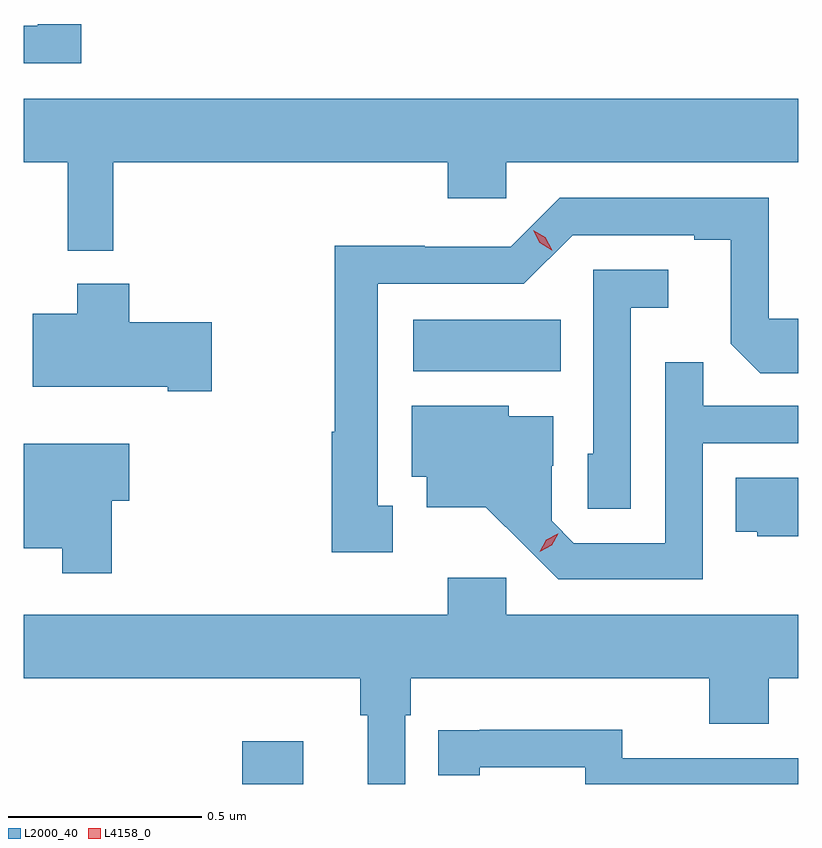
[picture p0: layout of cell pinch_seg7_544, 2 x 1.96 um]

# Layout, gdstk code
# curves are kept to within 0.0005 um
import gdstk
lib = gdstk.Library(unit=1e-6, precision=1e-09)
def R(c, l, rs):  # rectangles x0, y0, x1, y1
    for r in rs: c.add(gdstk.rectangle(r[:2], r[2:], *l))
def P(c, l, *ps):  # polygons
    for p in ps: c.add(gdstk.Polygon(p, *l))
L2000_40 = (2000, 40)
L4158_0 = (4158, 0)

pinch_seg7_544 = lib.new_cell('pinch_seg7_544')
R(pinch_seg7_544, L2000_40, [(171.566,1060.283,171.724,1060.393), (172.008,1061.348,172.388,1061.482)])
P(pinch_seg7_544, L2000_40, [(171.151,1062.245),(171.038,1062.245),(171.038,1062.24),(171.002,1062.24),(171.002,1062.144),(171.151,1062.144)],
  [(171.233,1061.888),(172.097,1061.888),(172.097,1061.795),(172.248,1061.795),(172.248,1061.888),(173.002,1061.888),(173.002,1062.052),(171.002,1062.052),(171.002,1061.888),(171.116,1061.888),(171.116,1061.66),(171.233,1061.66)],
  [(171.955,1061.001),(171.916,1061.001),(171.916,1061.574),(172.293,1061.574),(172.419,1061.7),(172.733,1061.7),(172.733,1061.688),(172.827,1061.688),(172.827,1061.42),(172.903,1061.344),(173.002,1061.344),(173.002,1061.484),(172.926,1061.484),(172.926,1061.796),(172.386,1061.796),(172.26,1061.67),(172.038,1061.67),(172.038,1061.672),(171.805,1061.672),(171.805,1061.193),(171.798,1061.193),(171.798,1060.881),(171.955,1060.881)],
  [(172.569,1061.513),(172.666,1061.513),(172.666,1061.61),(172.473,1061.61),(172.473,1061.136),(172.458,1061.136),(172.458,1060.993),(172.569,1060.993)],
  [(171.487,1061.475),(171.275,1061.475),(171.275,1061.575),(171.14,1061.575),(171.14,1061.497),(171.026,1061.497),(171.026,1061.309),(171.374,1061.309),(171.374,1061.297),(171.487,1061.297)],
  [(172.755,1061.163),(173.002,1061.163),(173.002,1061.259),(172.757,1061.259),(172.757,1061.372),(172.659,1061.372),(172.659,1060.905),(172.422,1060.905),(172.365,1060.962),(172.365,1061.104),(172.369,1061.104),(172.369,1061.233),(172.254,1061.233),(172.254,1061.26),(172.004,1061.26),(172.004,1061.076),(172.043,1061.076),(172.043,1060.997),(172.195,1060.997),(172.382,1060.812),(172.755,1060.812)],
  [(171.23,1061.014),(171.274,1061.014),(171.274,1061.161),(171.002,1061.161),(171.002,1060.892),(171.102,1060.892),(171.102,1060.827),(171.23,1060.827)],
  [(173.002,1061.074),(172.84,1061.074),(172.84,1060.934),(172.896,1060.934),(172.896,1060.922),(173.002,1060.922)],
  [(171.987,1060.46),(172.001,1060.46),(172.001,1060.556),(172.772,1060.556),(172.772,1060.439),(172.925,1060.439),(172.925,1060.556),(173.002,1060.556),(173.002,1060.72),(172.248,1060.72),(172.248,1060.816),(172.097,1060.816),(172.097,1060.72),(171.002,1060.72),(171.002,1060.556),(171.871,1060.556),(171.871,1060.46),(171.89,1060.46),(171.89,1060.283),(171.987,1060.283)],
  [(173.002,1060.35),(172.548,1060.35),(172.548,1060.423),(172.18,1060.423),(172.18,1060.422),(172.072,1060.422),(172.072,1060.306),(172.18,1060.306),(172.18,1060.326),(172.452,1060.326),(172.452,1060.283),(173.002,1060.283)])
P(pinch_seg7_544, L4158_0, [(172.334,1060.883),(172.334,1060.883),(172.351,1060.913),(172.381,1060.929),(172.382,1060.929),(172.382,1060.929),(172.365,1060.899),(172.334,1060.883)],
  [(172.366,1061.661),(172.335,1061.68),(172.317,1061.712),(172.317,1061.713),(172.317,1061.713),(172.349,1061.694),(172.367,1061.661),(172.367,1061.661)])

lib.write_gds('pinch_seg7_544.gds')
